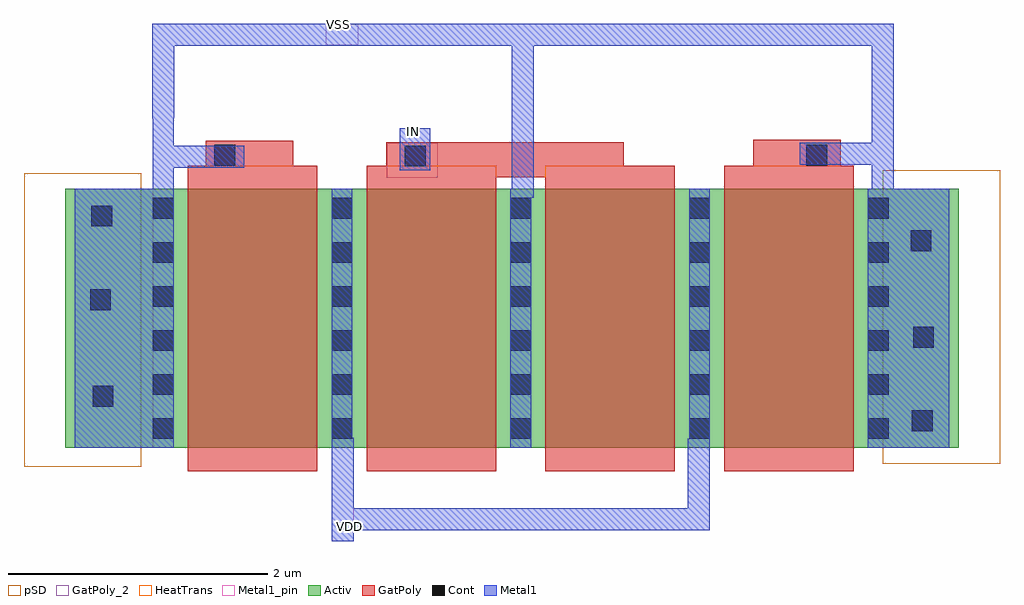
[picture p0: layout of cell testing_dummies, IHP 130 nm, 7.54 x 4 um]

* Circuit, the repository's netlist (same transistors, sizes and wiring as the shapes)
** sch_path: /foss/designs/thesis_hp/designs/otas/1_schematics/testing_dummies.sch
.SUBCKT testing_dummies vss vdd in
*.PININFO vss:I vdd:I in:I
M2 vdd in vss vss sg13_lv_nmos w=4u l=1u ng=2 m=1
M1 vdd vss vss vss sg13_lv_nmos w=4u l=1u ng=2 m=1
.ENDS

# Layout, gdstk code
import gdstk
lib = gdstk.Library(unit=1e-6, precision=1e-09)
def R(c, l, rs):  # rectangles x0, y0, x1, y1
    for r in rs: c.add(gdstk.rectangle(r[:2], r[2:], *l))
def A(c, l, x, y, w, h, nx, ny, dx, dy):  # array of equal rectangles
    R(c, l, [(x+i*dx, y+j*dy, x+i*dx+w, y+j*dy+h) for i in range(nx) for j in range(ny)])
Activ = (1, 0)
GatPoly = (5, 0)
GatPoly_2 = (5, 2)
Cont = (6, 0)
Metal1 = (8, 0)
Metal1_pin = (8, 2)
pSD = (14, 0)
HeatTrans = (51, 0)

nmos_1 = lib.new_cell('nmos$1')
A(nmos_1, Activ, 0, 0, 0.3, 0.3, 5, 1, 1.38, 0)
R(nmos_1, Activ, [(0,0,5.82,2)])
A(nmos_1, GatPoly, 0.34, -0.18, 1, 2.36, 4, 1, 1.38, 0)
R(nmos_1, GatPoly_2, [(0.34,-0.18,1.34,2.18)])
A(nmos_1, Cont, 0.07, 0.07, 0.16, 0.16, 5, 6, 1.38, 0.34)
A(nmos_1, Metal1, 0.07, 0, 0.16, 2, 5, 1, 1.38, 0)
R(nmos_1, Metal1_pin, [(0.07,0,0.23,2), (1.45,0,1.61,2)])
A(nmos_1, HeatTrans, 0.34, -0.18, 1, 2.36, 4, 1, 1.38, 0)
nmos_1.add(gdstk.Label('nmos', (0.84,1), layer=63, texttype=0))
nmos_1.add(gdstk.Label('nmos', (0.84,1), layer=51, texttype=0))
nmos_1.add(gdstk.Label('nmos', (2.22,1), layer=51, texttype=0))
nmos_1.add(gdstk.Label('nmos', (3.6,1), layer=51, texttype=0))
nmos_1.add(gdstk.Label('nmos', (4.98,1), layer=51, texttype=0))

testing_dummies = lib.new_cell('testing_dummies')
R(testing_dummies, Activ, [(-0.605,0.11,0.025,2.11), (5.66,0.11,6.29,2.11)])
R(testing_dummies, GatPoly, [(1.87,2.2,3.705,2.47), (0.48,2.21,1.155,2.48), (4.705,2.22,5.38,2.49)])
R(testing_dummies, GatPoly_2, [(1.875,2.195,2.27,2.465)])
R(testing_dummies, Cont, [(5.93,0.24,6.09,0.4), (-0.395,0.43,-0.235,0.59), (5.94,0.885,6.1,1.045), (-0.415,1.175,-0.255,1.335), (5.92,1.63,6.08,1.79), (-0.405,1.82,-0.245,1.98), (2.015,2.285,2.175,2.445), (0.545,2.29,0.705,2.45), (5.115,2.29,5.275,2.45)])
R(testing_dummies, Metal1, [(-0.535,0.11,0.095,2.11), (0.07,0.11,0.23,2.705), (2.83,0.11,2.99,2.11), (5.59,0.11,6.22,2.11), (1.975,2.255,2.21,2.58)])
R(testing_dummies, Metal1_pin, [(1.975,2.255,2.21,2.58), (1.405,3.22,1.655,3.38)])
R(testing_dummies, pSD, [(-0.925,-0.035,-0.02,2.23), (5.705,-0.01,6.61,2.255)])
testing_dummies.add(gdstk.FlexPath([(1.535,0.19),(1.535,-0.61)], 0.17, ends="flush", simple_path=True, layer=8, datatype=0))  # Metal1
testing_dummies.add(gdstk.FlexPath([(0.15,2.655),(0.15,3.3),(2.925,3.3),(2.925,2.04)], 0.17, ends="flush", simple_path=True, layer=8, datatype=0))  # Metal1
testing_dummies.add(gdstk.FlexPath([(4.285,0.18),(4.285,-0.44),(1.535,-0.44)], 0.17, ends="flush", simple_path=True, layer=8, datatype=0))  # Metal1
testing_dummies.add(gdstk.FlexPath([(2.925,3.3),(5.705,3.3),(5.705,1.995)], 0.17, ends="flush", simple_path=True, layer=8, datatype=0))  # Metal1
testing_dummies.add(gdstk.FlexPath([(0.775,2.36),(0.13,2.36),(0.13,2.36)], 0.17, ends="flush", simple_path=True, layer=8, datatype=0))  # Metal1
testing_dummies.add(gdstk.FlexPath([(5.71,2.38),(5.065,2.38),(5.065,2.38)], 0.17, ends="flush", simple_path=True, layer=8, datatype=0))  # Metal1
testing_dummies.add(gdstk.FlexPath([(1.535,0.19),(1.535,-0.525),(1.62,-0.525)], 0.17, ends="flush", simple_path=True, layer=8, datatype=2))  # Metal1_pin
testing_dummies.add(gdstk.Reference(nmos_1, (0,0.11)))
testing_dummies.add(gdstk.Label('VSS', (1.5,3.38), layer=8, texttype=25))
testing_dummies.add(gdstk.Label('IN', (2.08,2.555), layer=8, texttype=25))
testing_dummies.add(gdstk.Label('VDD', (1.585,-0.5), layer=8, texttype=25))

lib.write_gds('testing_dummies.gds')
